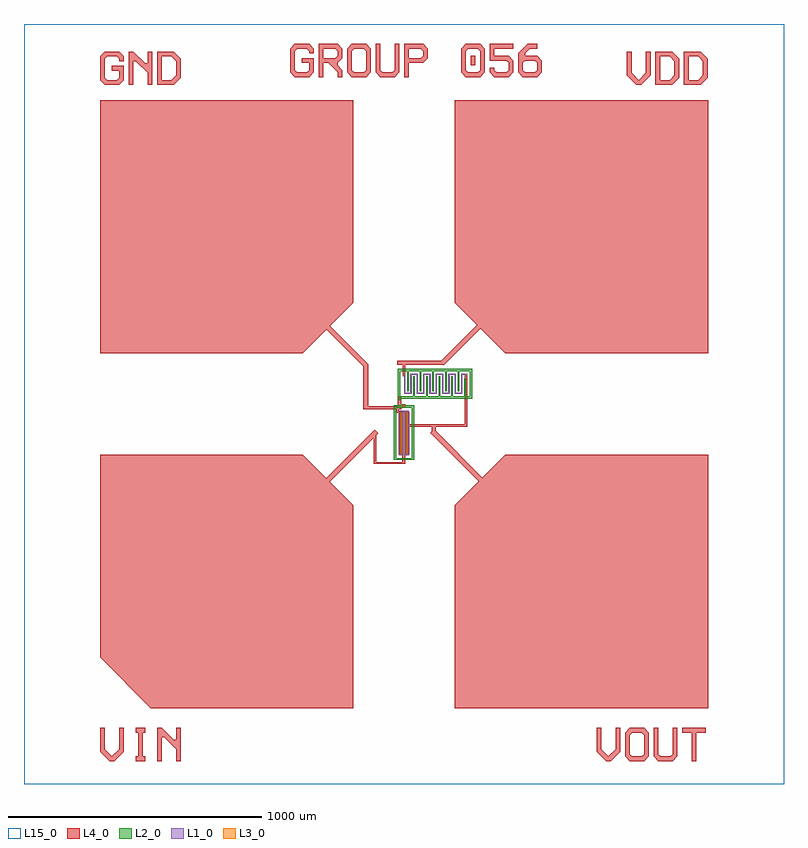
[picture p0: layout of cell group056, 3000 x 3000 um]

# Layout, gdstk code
import gdstk
lib = gdstk.Library(unit=1e-6, precision=1e-09)
def R(c, l, rs):  # rectangles x0, y0, x1, y1
    for r in rs: c.add(gdstk.rectangle(r[:2], r[2:], *l))
def A(c, l, x, y, w, h, nx, ny, dx, dy):  # array of equal rectangles
    R(c, l, [(x+i*dx, y+j*dy, x+i*dx+w, y+j*dy+h) for i in range(nx) for j in range(ny)])
def P(c, l, *ps):  # polygons
    for p in ps: c.add(gdstk.Polygon(p, *l))
L1_0 = (1, 0)
L2_0 = (2, 0)
L3_0 = (3, 0)
L4_0 = (4, 0)
L15_0 = (15, 0)

text_3 = lib.new_cell('TEXT$3')
R(text_3, L4_0, [(712.5,46.875,731.25,84.375)])
P(text_3, L4_0, [(18.75,0),(0,18.75),(0,112.5),(18.75,131.25),(75,131.25),(93.75,112.5),(93.75,93.75),(75,93.75),(75,103.125),(65.625,112.5),(28.125,112.5),(18.75,103.125),(18.75,28.125),(28.125,18.75),(65.625,18.75),(75,28.125),(75,56.25),(46.875,56.25),(46.875,75),(93.75,75),(93.75,18.75),(75,0)],
  [(112.5,0),(112.5,131.25),(187.5,131.25),(206.25,112.5),(131.25,112.5),(131.25,75),(178.125,75),(187.5,84.375),(187.5,103.125),(178.125,112.5),(206.25,112.5),(206.25,75),(187.5,56.25),(187.5,46.875),(206.25,28.125),(206.25,0),(187.5,0),(187.5,18.75),(150,56.25),(131.25,56.25),(131.25,0)],
  [(243.75,0),(225,18.75),(225,112.5),(243.75,131.25),(300,131.25),(318.75,112.5),(318.75,65.625),(300,65.625),(300,103.125),(290.625,112.5),(253.125,112.5),(243.75,103.125),(243.75,28.125),(253.125,18.75),(290.625,18.75),(300,28.125),(300,65.625),(318.75,65.625),(318.75,18.75),(300,0)],
  [(356.25,0),(337.5,18.75),(337.5,131.25),(356.25,131.25),(356.25,28.125),(365.625,18.75),(403.125,18.75),(412.5,28.125),(412.5,131.25),(431.25,131.25),(431.25,18.75),(412.5,0)],
  [(450,0),(450,131.25),(525,131.25),(543.75,112.5),(543.75,75),(525,56.25),(468.75,56.25),(468.75,75),(515.625,75),(525,84.375),(525,103.125),(515.625,112.5),(468.75,112.5),(468.75,0)],
  [(693.75,0),(675,18.75),(675,112.5),(693.75,131.25),(750,131.25),(768.75,112.5),(703.125,112.5),(693.75,103.125),(693.75,28.125),(703.125,18.75),(740.625,18.75),(750,28.125),(750,103.125),(740.625,112.5),(768.75,112.5),(768.75,18.75),(750,0)],
  [(806.25,0),(787.5,18.75),(787.5,37.5),(806.25,37.5),(806.25,28.125),(815.625,18.75),(853.125,18.75),(862.5,28.125),(862.5,56.25),(853.125,65.625),(787.5,65.625),(787.5,131.25),(881.25,131.25),(881.25,112.5),(806.25,112.5),(806.25,84.375),(862.5,84.375),(881.25,65.625),(881.25,18.75),(862.5,0)],
  [(918.75,0),(900,18.75),(900,93.75),(937.5,131.25),(975,131.25),(975,112.5),(946.875,112.5),(928.125,93.75),(928.125,84.375),(975,84.375),(993.75,65.625),(928.125,65.625),(918.75,56.25),(918.75,28.125),(928.125,18.75),(965.625,18.75),(975,28.125),(975,56.25),(965.625,65.625),(993.75,65.625),(993.75,18.75),(975,0)])

text_9 = lib.new_cell('TEXT$9')
P(text_9, L4_0, [(18.75,0),(0,18.75),(0,112.5),(18.75,131.25),(75,131.25),(93.75,112.5),(93.75,93.75),(75,93.75),(75,103.125),(65.625,112.5),(28.125,112.5),(18.75,103.125),(18.75,28.125),(28.125,18.75),(65.625,18.75),(75,28.125),(75,56.25),(46.875,56.25),(46.875,75),(93.75,75),(93.75,18.75),(75,0)],
  [(112.5,0),(112.5,131.25),(131.25,131.25),(178.125,84.375),(187.5,84.375),(187.5,131.25),(206.25,131.25),(206.25,0),(187.5,0),(187.5,46.875),(140.625,93.75),(131.25,93.75),(131.25,0)],
  [(225,0),(225,131.25),(290.625,131.25),(309.375,112.5),(243.75,112.5),(243.75,18.75),(281.25,18.75),(300,37.5),(300,93.75),(281.25,112.5),(309.375,112.5),(318.75,103.125),(318.75,28.125),(290.625,0)])

text_11 = lib.new_cell('TEXT$11')
P(text_11, L4_0, [(37.5,0),(0,37.5),(0,131.25),(18.75,131.25),(18.75,46.875),(46.875,18.75),(75,46.875),(75,131.25),(93.75,131.25),(93.75,37.5),(56.25,0)],
  [(112.5,0),(112.5,131.25),(178.125,131.25),(196.875,112.5),(131.25,112.5),(131.25,18.75),(168.75,18.75),(187.5,37.5),(187.5,93.75),(168.75,112.5),(196.875,112.5),(206.25,103.125),(206.25,28.125),(178.125,0)],
  [(225,0),(225,131.25),(290.625,131.25),(309.375,112.5),(243.75,112.5),(243.75,18.75),(281.25,18.75),(300,37.5),(300,93.75),(281.25,112.5),(309.375,112.5),(318.75,103.125),(318.75,28.125),(290.625,0)])

text_1 = lib.new_cell('TEXT$1')
P(text_1, L4_0, [(37.5,0),(0,37.5),(0,131.25),(18.75,131.25),(18.75,46.875),(46.875,18.75),(75,46.875),(75,131.25),(93.75,131.25),(93.75,37.5),(56.25,0)],
  [(140.625,0),(140.625,18.75),(150,18.75),(150,112.5),(140.625,112.5),(140.625,131.25),(178.125,131.25),(178.125,112.5),(168.75,112.5),(168.75,18.75),(178.125,18.75),(178.125,0)],
  [(225,0),(225,131.25),(243.75,131.25),(290.625,84.375),(300,84.375),(300,131.25),(318.75,131.25),(318.75,0),(300,0),(300,46.875),(253.125,93.75),(243.75,93.75),(243.75,0)])

text_2 = lib.new_cell('TEXT$2')
P(text_2, L4_0, [(37.5,0),(0,37.5),(0,131.25),(18.75,131.25),(18.75,46.875),(46.875,18.75),(75,46.875),(75,131.25),(93.75,131.25),(93.75,37.5),(56.25,0)],
  [(131.25,0),(112.5,18.75),(112.5,112.5),(131.25,131.25),(187.5,131.25),(206.25,112.5),(206.25,65.625),(187.5,65.625),(187.5,103.125),(178.125,112.5),(140.625,112.5),(131.25,103.125),(131.25,28.125),(140.625,18.75),(178.125,18.75),(187.5,28.125),(187.5,65.625),(206.25,65.625),(206.25,18.75),(187.5,0)],
  [(243.75,0),(225,18.75),(225,131.25),(243.75,131.25),(243.75,28.125),(253.125,18.75),(290.625,18.75),(300,28.125),(300,131.25),(318.75,131.25),(318.75,18.75),(300,0)],
  [(375,0),(375,112.5),(337.5,112.5),(337.5,131.25),(431.25,131.25),(431.25,112.5),(393.75,112.5),(393.75,0)])

group056 = lib.new_cell('group056')
A(group056, L1_0, 0, 40, 5, 80, 10, 1, 25, 0)
A(group056, L1_0, 0, 40, 25, 5, 5, 1, 50, 0)
A(group056, L1_0, 25, 115, 25, 5, 5, 1, 50, 0)
R(group056, L1_0, [(-19,-202,-3,-27), (2,-202,18,-27), (-5,110,5,120), (240,110,250,120)])
P(group056, L1_0, [(75,40),(75,40),(75,40),(75,40)])
A(group056, L2_0, 37, 20, 6, 90, 4, 1, 50, 0)
A(group056, L2_0, 12, 50, 6, 90, 5, 1, 50, 0)
R(group056, L2_0, [(-40,-220,40,-215), (-40,-220,-30,-10), (30,-220,40,-10), (-40,-15,40,-5), (-10,-15,5,0), (-25,15,-10,30), (-25,20,-15,140), (-20,20,270,30), (237,20,243,100), (260,20,270,140), (-20,130,270,140)])
R(group056, L3_0, [(-14,-196,-8,-32), (7,-196,13,-32), (-5,-10,0,-5), (-20,20,-15,25), (-2,113,2,117), (243,113,247,117)])
R(group056, L4_0, [(-120,-235,5,-230), (-120,-235,-110,-110), (-6,-235,5,-200), (-6,-202,5,-27), (-20,-200,-9,-30), (8,-200,21,-30), (110,-120,125,-80), (20,-90,250,-80), (240,-90,250,120), (-30,-35,-20,-15), (-160,-20,-30,-8), (-160,-20,-140.931,157.574), (-30,-20,-10,-8), (-25,-20,-10,30), (-25,-15,5,0), (-5,110,5,170), (-26,155,156,170)])
P(group056, L4_0, [(-302.426,-316.569),(-316.569,-302.426),(-115.074,-100.931),(-100.931,-115.074)],
  [(307.426,-316.569),(103.431,-112.574),(117.574,-98.431),(321.569,-302.426)],
  [(157.574,153.431),(143.431,167.574),(297.426,321.569),(311.569,307.426)],
  [(-155.074,143.431),(-316.569,304.926),(-302.426,319.069),(-140.931,157.574)],
  [(-1000,-1200),(-1200,-1000),(-1200,-200),(-400,-200),(-200,-400),(-200,-1200)],
  [(-1200,200),(-1200,1200),(-200,1200),(-200,400),(-400,200)],
  [(400,200),(200,400),(200,1200),(1200,1200),(1200,200)],
  [(200,-1200),(200,-400),(400,-200),(1200,-200),(1200,-1200)],
  [(50,-90),(50,-90),(50,-90),(50,-90)])
R(group056, L15_0, [(-1500,-1500,1500,1500)])
group056.add(gdstk.Reference(text_3, (-450,1290)))
group056.add(gdstk.Reference(text_9, (-1200,1260)))
group056.add(gdstk.Reference(text_11, (880,1260)))
group056.add(gdstk.Reference(text_1, (-1200,-1410)))
group056.add(gdstk.Reference(text_2, (760,-1410)))

lib.write_gds('group056.gds')
